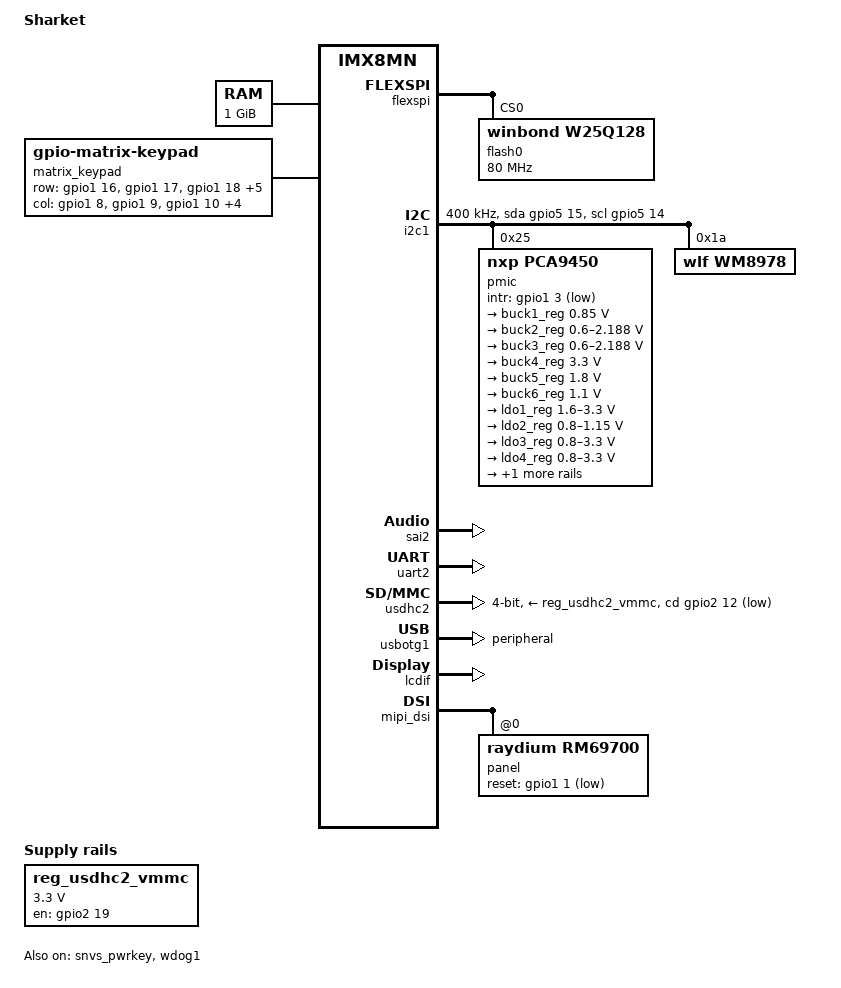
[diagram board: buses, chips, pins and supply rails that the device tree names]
// SPDX-License-Identifier: (GPL-2.0+ OR MIT)
/*
 * Copyright 2023 AL
 */

/dts-v1/;

#include <dt-bindings/usb/pd.h>
#include "imx8mn.dtsi"

/ {
	model = "Sharket";
	compatible = "fsl,imx8mn-ddr4-evk", "fsl,imx8mn";

	chosen {
		bootargs = "console=ttymxc1,115200 earlycon=ec_imx6q,0x30890000,115200";
		stdout-path = &uart2;
	};

    memory@40000000 {
		device_type = "memory";
		reg = <0x0 0x40000000 0 0x40000000>;
	};

	resmem: reserved-memory {
		#address-cells = <2>;
		#size-cells = <2>;
		ranges;

		/* global autoconfigured region for contiguous allocations */
		linux,cma {
			compatible = "shared-dma-pool";
			reusable;
			size = <0 0x28000000>;
			alloc-ranges = <0 0x40000000 0 0x20000000>;
			linux,cma-default;
		};
	};

	reg_usdhc2_vmmc: regulator-usdhc2 {
		compatible = "regulator-fixed";
		pinctrl-names = "default";
		pinctrl-0 = <&pinctrl_reg_usdhc2_vmmc>;
		regulator-name = "VSD_3V3";
		regulator-min-microvolt = <3300000>;
		regulator-max-microvolt = <3300000>;
		gpio = <&gpio2 19 GPIO_ACTIVE_HIGH>;
		enable-active-high;
		startup-delay-us = <100>;
		off-on-delay-us = <12000>;
	};

    matrix_keypad: matrix_keypad0 {
		compatible = "gpio-matrix-keypad";
		debounce-delay-ms = <5>;
		col-scan-delay-us = <2>;
		pinctrl-names = "default";
		pinctrl-0 = <&matrix_keypad_default>;
		wakeup-source;

		row-gpios =
            <&gpio1 16 GPIO_ACTIVE_HIGH
            &gpio1 17 GPIO_ACTIVE_HIGH
            &gpio1 18 GPIO_ACTIVE_HIGH
            &gpio1 19 GPIO_ACTIVE_HIGH
            &gpio1 20 GPIO_ACTIVE_HIGH
            &gpio1 21 GPIO_ACTIVE_HIGH
            &gpio1 22 GPIO_ACTIVE_HIGH
            &gpio5 29 GPIO_ACTIVE_HIGH>;

		col-gpios =
            <&gpio1 8 GPIO_ACTIVE_HIGH
            &gpio1 9 GPIO_ACTIVE_HIGH
            &gpio1 10 GPIO_ACTIVE_HIGH
            &gpio1 11 GPIO_ACTIVE_HIGH
            &gpio1 12 GPIO_ACTIVE_HIGH
            &gpio1 13 GPIO_ACTIVE_HIGH
            &gpio1 14 GPIO_ACTIVE_HIGH>;

		linux,keymap = <
            0x0000003f  /* graph, f5*/
			0x0100003e  /* trace, f4 */
			0x0200003d  /* zoom, f3 */
			0x0300003c  /* window, f2 */
            0x0400003b  /* y=, f1 */
            0x05000040  /* 2nd, f6 */
            0x06000041  /* mode, f7 */
            0x07000042  /* del, f8 */
			0x0101002d  /* sto, x */
			0x0201001f  /* ln, s */
			0x03010031  /* log, n */
            0x04010017  /* x^2, i */
            0x05010020  /* x^-1, d */
            0x0601001e  /* math, a */
            0x07010043  /* alpha, f9 */
            0x00020039  /* 0, space */
			0x01020015  /* 1, y */
			0x02020014  /* 4, t */
			0x03020018  /* 7, o */
            0x04020024  /* ,, j */
            0x05020012  /* sin, e */
            0x06020030  /* apps, b */
            0x07020044  /* xttn, f10 */
            0x00030027  /* ., ; */
			0x0103002c  /* 2, z */
			0x02030016  /* 5, u */
			0x03030019  /* 8, p */
            0x04030025  /* (, k */
            0x05030021  /* cos, f */
            0x0603002e  /* prgm, c */
            0x07030057  /* stat, f11 */
            0x0004000c  /* (-), - */
			0x0104002b  /* 3, \ */
			0x0204002f  /* 6, v */
			0x03040010  /* 9, q */
            0x04040026  /* ), l */
            0x05040022  /* tan, g */
            0x06040058  /* vars, f12 */
            0x0005001c  /* enter, enter */
            0x0105000d  /* +, = */
			0x02050011  /* -, w */
			0x03050013  /* *, r */
			0x04050032  /* /, m */
            0x05050023  /* ^, h */
            0x0605000e  /* clear, bksp */
            0x0006006c  /* down */
			0x01060069  /* left */
			0x0206006a  /* right */
			0x03060067  /* up */
            >;
	};

    sound {
		compatible = "simple-audio-card";
        simple-audio-card,name = "wm8979-audio";
		simple-audio-card,format = "dsp_a";
        simple-audio-card,bitclock-inversion;
		simple-audio-card,frame-master = <&codec>;
		simple-audio-card,bitclock-master = <&codec>;

		simple-audio-card,cpu {
			sound-dai = <&sai2>;
			dai-tdm-slot-num = <2>;
			dai-tdm-slot-width = <16>;
		};

		codec: simple-audio-card,codec {
			sound-dai = <&wm8978>;
			clocks = <&clk IMX8MN_CLK_SAI2_ROOT>;
		};
	};
};

&clk {
	assigned-clocks = <&clk IMX8MN_AUDIO_PLL1>, <&clk IMX8MN_AUDIO_PLL2>;
	assigned-clock-rates = <393216000>, <361267200>;
};

&A53_0 {
	cpu-supply = <&buck2_reg>;
};

&iomuxc {
	pinctrl-names = "default";

	pinctrl_flexspi0: flexspi0grp {
		fsl,pins = <
			MX8MN_IOMUXC_NAND_ALE_QSPI_A_SCLK 0x1c4
			MX8MN_IOMUXC_NAND_CE0_B_QSPI_A_SS0_B 0x84
			MX8MN_IOMUXC_NAND_DQS_QSPI_A_DQS 0x40000084
			MX8MN_IOMUXC_NAND_DATA00_QSPI_A_DATA0 0x84
			MX8MN_IOMUXC_NAND_DATA01_QSPI_A_DATA1 0x84
			MX8MN_IOMUXC_NAND_DATA02_QSPI_A_DATA2 0x84
			MX8MN_IOMUXC_NAND_DATA03_QSPI_A_DATA3 0x84
		>;
	};

	pinctrl_mipi_dsi_en: mipi_dsi_en {
		fsl,pins = <
			MX8MN_IOMUXC_GPIO1_IO08_GPIO1_IO8		0x16
		>;
	};

	pinctrl_i2c1: i2c1grp {
		fsl,pins = <
			MX8MN_IOMUXC_I2C1_SCL_I2C1_SCL		0x400001c3
			MX8MN_IOMUXC_I2C1_SDA_I2C1_SDA		0x400001c3
		>;
	};

	pinctrl_pmic: pmicirq {
		fsl,pins = <
			MX8MN_IOMUXC_GPIO1_IO03_GPIO1_IO3	0x41
		>;
	};

	pinctrl_i2c2: i2c2grp {
		fsl,pins = <
			MX8MN_IOMUXC_I2C2_SCL_I2C2_SCL			0x400001c3
			MX8MN_IOMUXC_I2C2_SDA_I2C2_SDA			0x400001c3
		>;
	};

	pinctrl_i2c3: i2c3grp {
		fsl,pins = <
			MX8MN_IOMUXC_I2C3_SCL_I2C3_SCL			0x400001c3
			MX8MN_IOMUXC_I2C3_SDA_I2C3_SDA			0x400001c3
		>;
	};

	pinctrl_i2c1_gpio: i2c1grp-gpio {
		fsl,pins = <
			MX8MN_IOMUXC_I2C1_SCL_GPIO5_IO14        	0x1c3
			MX8MN_IOMUXC_I2C1_SDA_GPIO5_IO15        	0x1c3
		>;
	};

	pinctrl_i2c2_gpio: i2c2grp-gpio {
		fsl,pins = <
			MX8MN_IOMUXC_I2C2_SCL_GPIO5_IO16		0x1c3
			MX8MN_IOMUXC_I2C2_SDA_GPIO5_IO17		0x1c3
		>;
	};

	pinctrl_i2c3_gpio: i2c3grp-gpio {
		fsl,pins = <
			MX8MN_IOMUXC_I2C3_SCL_GPIO5_IO18		0x1c3
			MX8MN_IOMUXC_I2C3_SDA_GPIO5_IO19		0x1c3
		>;
	};

	pinctrl_typec1: typec1grp {
		fsl,pins = <
			MX8MN_IOMUXC_SD1_STROBE_GPIO2_IO11	0x159
		>;
	};

	pinctrl_reg_usdhc2_vmmc: regusdhc2vmmc {
		fsl,pins = <
			MX8MN_IOMUXC_SD2_RESET_B_GPIO2_IO19	0x41
		>;
	};

	pinctrl_uart2: uart2grp {
		fsl,pins = <
			MX8MN_IOMUXC_UART2_RXD_UART2_DCE_RX	0x140
			MX8MN_IOMUXC_UART2_TXD_UART2_DCE_TX	0x140
		>;
	};

	pinctrl_usdhc2_gpio: usdhc2grpgpio {
		fsl,pins = <
			MX8MN_IOMUXC_SD2_CD_B_GPIO2_IO12	0x1c4
		>;
	};

	pinctrl_usdhc2: usdhc2grp {
		fsl,pins = <
			MX8MN_IOMUXC_SD2_CLK_USDHC2_CLK		0x190
			MX8MN_IOMUXC_SD2_CMD_USDHC2_CMD		0x1d0
			MX8MN_IOMUXC_SD2_DATA0_USDHC2_DATA0	0x1d0
			MX8MN_IOMUXC_SD2_DATA1_USDHC2_DATA1	0x1d0
			MX8MN_IOMUXC_SD2_DATA2_USDHC2_DATA2	0x1d0
			MX8MN_IOMUXC_SD2_DATA3_USDHC2_DATA3	0x1d0
			MX8MN_IOMUXC_GPIO1_IO04_USDHC2_VSELECT	0x1d0
		>;
	};

	pinctrl_usdhc2_100mhz: usdhc2grp100mhz {
		fsl,pins = <
			MX8MN_IOMUXC_SD2_CLK_USDHC2_CLK		0x194
			MX8MN_IOMUXC_SD2_CMD_USDHC2_CMD		0x1d4
			MX8MN_IOMUXC_SD2_DATA0_USDHC2_DATA0	0x1d4
			MX8MN_IOMUXC_SD2_DATA1_USDHC2_DATA1	0x1d4
			MX8MN_IOMUXC_SD2_DATA2_USDHC2_DATA2	0x1d4
			MX8MN_IOMUXC_SD2_DATA3_USDHC2_DATA3	0x1d4
			MX8MN_IOMUXC_GPIO1_IO04_USDHC2_VSELECT	0x1d0
		>;
	};

	pinctrl_usdhc2_200mhz: usdhc2grp200mhz {
		fsl,pins = <
			MX8MN_IOMUXC_SD2_CLK_USDHC2_CLK		0x196
			MX8MN_IOMUXC_SD2_CMD_USDHC2_CMD		0x1d6
			MX8MN_IOMUXC_SD2_DATA0_USDHC2_DATA0	0x1d6
			MX8MN_IOMUXC_SD2_DATA1_USDHC2_DATA1	0x1d6
			MX8MN_IOMUXC_SD2_DATA2_USDHC2_DATA2	0x1d6
			MX8MN_IOMUXC_SD2_DATA3_USDHC2_DATA3	0x1d6
			MX8MN_IOMUXC_GPIO1_IO04_USDHC2_VSELECT	0x1d0
		>;
	};

	pinctrl_wdog: wdoggrp {
		fsl,pins = <
			MX8MN_IOMUXC_GPIO1_IO02_WDOG1_WDOG_B		0xc6
		>;
	};

    pinctrl_pmic: pmicirq {
        fsl,pins = <
            MX8MN_IOMUXC_GPIO1_IO03_GPIO1_IO3	0x41
        >;
    };

    pinctrl_mipi_dsi_en: mipi_dsi_en {
        fsl,pins = <
            MX8MN_IOMUXC_GPIO1_IO01_GPIO1_IO1		0x16
        >;
    };

    matrix_keypad_default: matrix_keypad_default {
        fsl,pins = <
            /* Row, input, pull down, schmitt input */
            MX8MN_IOMUXC_ENET_MDC_GPIO1_IO16        0x180
            MX8MN_IOMUXC_ENET_MDIO_GPIO1_IO17       0x180
            MX8MN_IOMUXC_ENET_TD3_GPIO1_IO18        0x180
            MX8MN_IOMUXC_ENET_TD2_GPIO1_IO19        0x180
            MX8MN_IOMUXC_ENET_TD1_GPIO1_IO20        0x180
            MX8MN_IOMUXC_ENET_TD0_GPIO1_IO21        0x180
            MX8MN_IOMUXC_ENET_TX_CTL_GPIO1_IO22     0x180
            MX8MN_IOMUXC_UART4_TXD_GPIO5_IO29       0x180
            /* Col, output, slow slew, x2 drive strength */
            MX8MN_IOMUXC_GPIO1_IO08_GPIO1_IO8		0x02
            MX8MN_IOMUXC_GPIO1_IO09_GPIO1_IO9		0x02
            MX8MN_IOMUXC_GPIO1_IO10_GPIO1_IO10		0x02
            MX8MN_IOMUXC_GPIO1_IO11_GPIO1_IO11		0x02
            MX8MN_IOMUXC_GPIO1_IO12_GPIO1_IO12		0x02
            MX8MN_IOMUXC_GPIO1_IO13_GPIO1_IO13		0x02
            MX8MN_IOMUXC_GPIO1_IO14_GPIO1_IO14		0x02
        >;
    };

    pinctrl_sai2: sai2grp {
        fsl,pins = <
            MX8MN_IOMUXC_SAI2_TXC_SAI2_TX_BCLK      0xd6
            MX8MN_IOMUXC_SAI2_TXFS_SAI2_TX_SYNC     0xd6
            MX8MN_IOMUXC_SAI2_TXD0_SAI2_TX_DATA0    0xd6
            MX8MN_IOMUXC_SAI2_RXD0_SAI2_RX_DATA0    0xd6
            MX8MN_IOMUXC_SAI2_MCLK_SAI2_MCLK        0xd6
        >;
    };
};

&flexspi {
	pinctrl-names = "default";
	pinctrl-0 = <&pinctrl_flexspi0>;
	status = "okay";

	flash0: w25q128@0 {
		reg = <0>;
		compatible = "winbond,w25q128", "jedec,spi-nor";
		spi-max-frequency = <80000000>;
		spi-tx-bus-width = <4>;
		spi-rx-bus-width = <4>;
	};
};

&i2c1 {	
	clock-frequency = <400000>;
	pinctrl-names = "default", "gpio";
	pinctrl-0 = <&pinctrl_i2c1>;
	pinctrl-1 = <&pinctrl_i2c1_gpio>;
	scl-gpios = <&gpio5 14 GPIO_ACTIVE_HIGH>;
	sda-gpios = <&gpio5 15 GPIO_ACTIVE_HIGH>;
	status = "okay";

	pmic: pca9450@25 {
		reg = <0x25>;
		compatible = "nxp,pca9450";
		/* PMIC PCA9450 PMIC_nINT GPIO1_IO3 */
		pinctrl-0 = <&pinctrl_pmic>;
		gpio_intr = <&gpio1 3  GPIO_ACTIVE_LOW>;

		regulators {
			#address-cells = <1>;
			#size-cells = <0>;

			pca9450,pmic-buck2-uses-i2c-dvs;
			/* Run/Standby voltage */
			pca9450,pmic-buck2-dvs-voltage = <950000>, <850000>;

			buck1_reg: regulator@0 {
				reg = <0>;
				regulator-compatible = "buck1";
				regulator-min-microvolt = <850000>;
				regulator-max-microvolt = <850000>;
				regulator-boot-on;
				regulator-always-on;
				regulator-ramp-delay = <3125>;
			};

			buck2_reg: regulator@1 {
				reg = <1>;
				regulator-compatible = "buck2";
				regulator-min-microvolt = <600000>;
				regulator-max-microvolt = <2187500>;
				regulator-boot-on;
				regulator-always-on;
				regulator-ramp-delay = <3125>;
			};

			buck3_reg: regulator@2 {
				reg = <2>;
				regulator-compatible = "buck3";
				regulator-min-microvolt = <600000>;
				regulator-max-microvolt = <2187500>;
				regulator-boot-on;
				regulator-always-on;
			};

			buck4_reg: regulator@3 {
				reg = <3>;
				regulator-compatible = "buck4";
				regulator-min-microvolt = <3300000>;
				regulator-max-microvolt = <3300000>;
				regulator-boot-on;
				regulator-always-on;
			};

			buck5_reg: regulator@4 {
				reg = <4>;
				regulator-compatible = "buck5";
				regulator-min-microvolt = <1800000>;
				regulator-max-microvolt = <1800000>;
				regulator-boot-on;
				regulator-always-on;
			};

			buck6_reg: regulator@5 {
				reg = <5>;
				regulator-compatible = "buck6";
				regulator-min-microvolt = <1100000>;
				regulator-max-microvolt = <1100000>;
				regulator-boot-on;
				regulator-always-on;
			};

			ldo1_reg: regulator@6 {
				reg = <6>;
				regulator-compatible = "ldo1";
				regulator-min-microvolt = <1600000>;
				regulator-max-microvolt = <3300000>;
				regulator-boot-on;
				regulator-always-on;
			};

			ldo2_reg: regulator@7 {
				reg = <7>;
				regulator-compatible = "ldo2";
				regulator-min-microvolt = <800000>;
				regulator-max-microvolt = <1150000>;
				regulator-boot-on;
				regulator-always-on;
			};

			ldo3_reg: regulator@8 {
				reg = <8>;
				regulator-compatible = "ldo3";
				regulator-min-microvolt = <800000>;
				regulator-max-microvolt = <3300000>;
				regulator-boot-on;
				regulator-always-on;
			};

			ldo4_reg: regulator@9 {
				reg = <9>;
				regulator-compatible = "ldo4";
				regulator-min-microvolt = <800000>;
				regulator-max-microvolt = <3300000>;
				regulator-boot-on;
				regulator-always-on;
			};

			ldo5_reg: regulator@10 {
				reg = <10>;
				regulator-compatible = "ldo5";
				regulator-min-microvolt = <1800000>;
				regulator-max-microvolt = <3300000>;
			};
		};
	};

    wm8978: codec@1a {
		#sound-dai-cells = <0>;
		compatible = "wlf,wm8978";
		reg = <0x1a>;
	};
};

&sai2 {
	#sound-dai-cells = <0>;
	pinctrl-names = "default";
	pinctrl-0 = <&pinctrl_sai2>;
	assigned-clocks = <&clk IMX8MN_CLK_SAI2>;
	assigned-clock-parents = <&clk IMX8MN_AUDIO_PLL1_OUT>;
	assigned-clock-rates = <24576000>;
	status = "okay";
};

&snvs_pwrkey {
	status = "okay";
};

&uart2 { /* console */
	pinctrl-names = "default";
	pinctrl-0 = <&pinctrl_uart2>;
	status = "okay";
};

&usdhc2 {
	pinctrl-names = "default", "state_100mhz", "state_200mhz";
	pinctrl-0 = <&pinctrl_usdhc2>, <&pinctrl_usdhc2_gpio>;
	pinctrl-1 = <&pinctrl_usdhc2_100mhz>, <&pinctrl_usdhc2_gpio>;
	pinctrl-2 = <&pinctrl_usdhc2_200mhz>, <&pinctrl_usdhc2_gpio>;
	cd-gpios = <&gpio2 12 GPIO_ACTIVE_LOW>;
	bus-width = <4>;
	vmmc-supply = <&reg_usdhc2_vmmc>;
	status = "okay";
};

&wdog1 {
	pinctrl-names = "default";
	pinctrl-0 = <&pinctrl_wdog>;
	fsl,ext-reset-output;
	status = "okay";
};

&usbotg1 {
	dr_mode = "peripheral";
	status = "okay";
};

&lcdif {
	status = "okay";
};

&mipi_dsi {
    status = "okay";
	panel@0 {
		compatible = "raydium,rm69700";
		reg = <0>;
		pinctrl-0 = <&pinctrl_mipi_dsi_en>;
		reset-gpio = <&gpio1 1 GPIO_ACTIVE_LOW>;
		dsi-lanes = <2>;
		video-mode = <0>;	/* 0: burst mode
					 * 1: non-burst mode with sync event
					 * 2: non-burst mode with sync pulse
					 */
		panel-width-mm = <41>;
		panel-height-mm = <55>;
		status = "okay";
	};
};

&gpu {
	status = "disabled";
};
